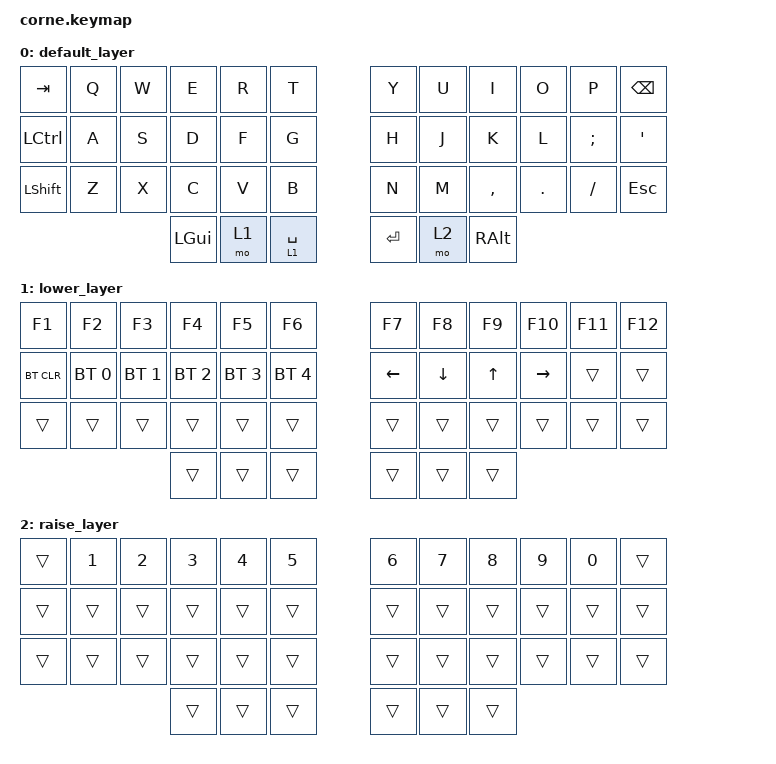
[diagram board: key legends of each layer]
#include <behaviors.dtsi>
#include <dt-bindings/zmk/keys.h>
#include <dt-bindings/zmk/bt.h>

/ {
    chosen {
        zmk,matrix_transform = &default_transform;
    };
};

/ {
    behaviors {
        lt_spc: layer_tap_space {
            compatible = "zmk,behavior-hold-tap";
            label = "LAYER_TAP_SPACE";
            #binding-cells = <2>;
            tapping-term-ms = <170>;
            quick-tap-ms = <150>;
            flavor = "tap-preferred";
            bindings = <&mo>, <&kp>;
        };
    };

    keymap {
        compatible = "zmk,keymap";

        default_layer {
            bindings = <
&kp TAB   &kp Q &kp W &kp E &kp R &kp T   &kp Y &kp U  &kp I     &kp O   &kp P    &kp BSPC
&kp LCTRL &kp A &kp S &kp D &kp F &kp G   &kp H &kp J  &kp K     &kp L   &kp SEMI &kp SQT
&kp LSHFT &kp Z &kp X &kp C &kp V &kp B   &kp N &kp M  &kp COMMA &kp DOT &kp FSLH &kp ESC
                &kp LGUI &mo 1 &lt_spc 1 SPACE   &kp RET &mo 2 &kp RALT
            >;
        };

        lower_layer {
            bindings = <
&kp F1     &kp F2       &kp F3       &kp F4       &kp F5       &kp F6         &kp F7   &kp F8   &kp F9 &kp F10 &kp F11 &kp F12
&bt BT_CLR &bt BT_SEL 0 &bt BT_SEL 1 &bt BT_SEL 2 &bt BT_SEL 3 &bt BT_SEL 4   &kp LEFT &kp DOWN &kp UP &kp RIGHT &trans &trans
&trans     &trans       &trans       &trans       &trans       &trans         &trans   &trans   &trans &trans    &trans &trans
                                     &trans       &trans       &trans         &trans   &trans   &trans
            >;
        };

        raise_layer {
            bindings = <
&trans &kp N1 &kp N2 &kp N3 &kp N4 &kp N5   &kp N6 &kp N7 &kp N8 &kp N9 &kp N0 &trans
&trans &trans &trans &trans &trans &trans   &trans &trans &trans &trans &trans &trans
&trans &trans &trans &trans &trans &trans   &trans &trans &trans &trans &trans &trans
                     &trans &trans &trans   &trans &trans &trans
            >;
        };
    };
};
